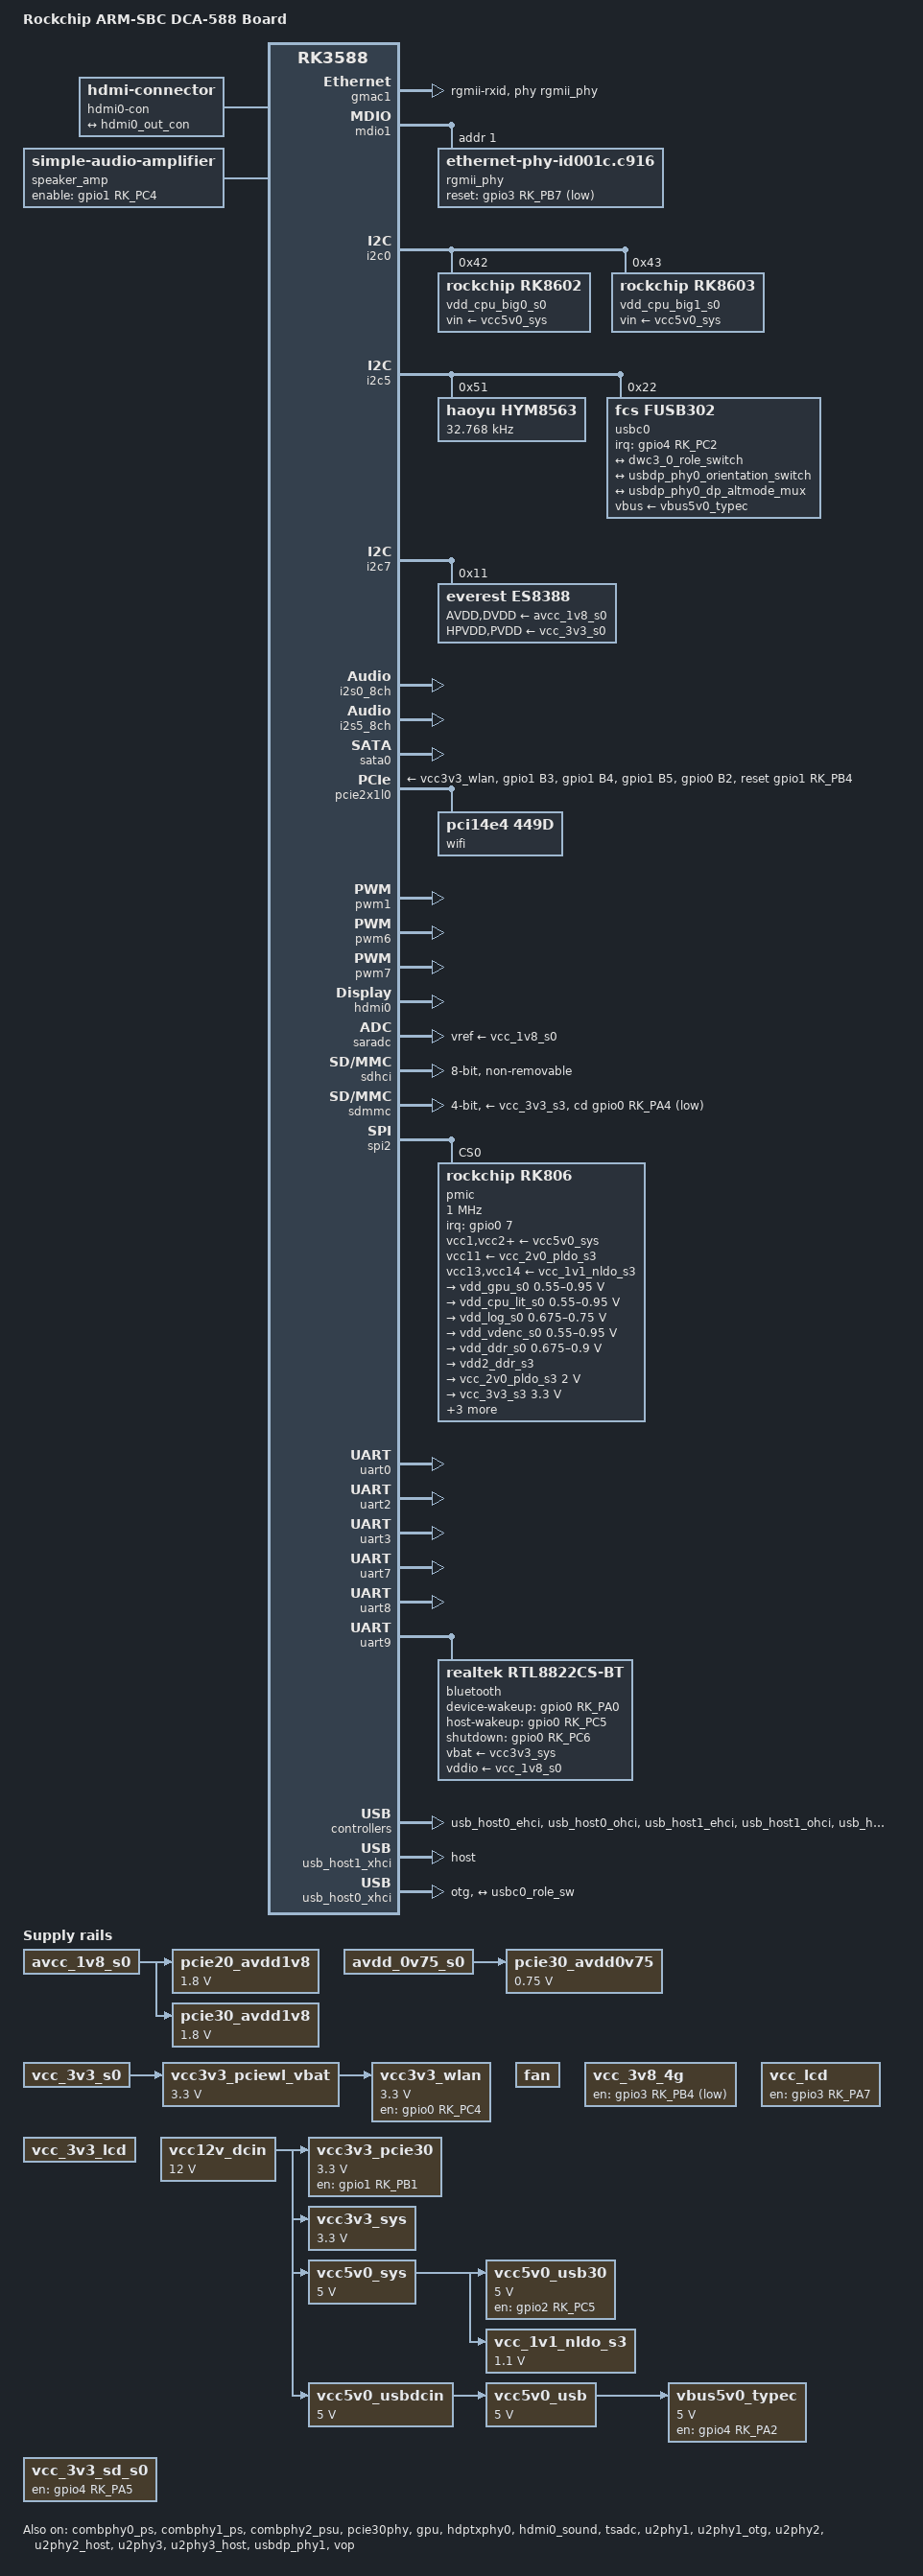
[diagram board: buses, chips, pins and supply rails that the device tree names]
// SPDX-License-Identifier: (GPL-2.0+ OR MIT)
/*
 * Copyright (c) 2024 Rockchip Electronics Co., Ltd.
 *
 */

/dts-v1/;

#include <dt-bindings/gpio/gpio.h>
#include <dt-bindings/input/input.h>
#include <dt-bindings/pinctrl/rockchip.h>
#include <dt-bindings/soc/rockchip,vop2.h>
#include <dt-bindings/usb/pd.h>
#include "rk3588.dtsi"

/ {
	model = "Rockchip ARM-SBC DCA-588 Board";
	compatible = "rockchip,rk3588-arm-sbc-v03", "rockchip,rk3588";

	aliases {
		mmc0 = &sdhci;
		mmc1 = &sdmmc;
		ethernet0 = &gmac1;
	};

	chosen {
		stdout-path = "serial2:1500000n8";
	};
	
	hdmi0-con {
		compatible = "hdmi-connector";
		type = "a";

		port {
			hdmi0_con_in: endpoint {
				remote-endpoint = <&hdmi0_out_con>;
			};
		};
	};

	speaker_amp: speaker-audio-amplifier {
		compatible = "simple-audio-amplifier";
		enable-gpios = <&gpio1 RK_PC4 GPIO_ACTIVE_HIGH>;
		sound-name-prefix = "Speaker Amp";
	};

	sound {
		compatible = "simple-audio-card";
		pinctrl-names = "default";
		pinctrl-0 = <&hp_detect>;
		simple-audio-card,name = "Analog";
		simple-audio-card,aux-devs = <&speaker_amp>;
		simple-audio-card,format = "i2s";
		simple-audio-card,mclk-fs = <256>;
		//simple-audio-card,hp-det-gpio = <&gpio1 RK_PD5 GPIO_ACTIVE_LOW>;
		simple-audio-card,bitclock-master = <&daicpu>;
		simple-audio-card,frame-master = <&daicpu>;
		
		simple-audio-card,widgets =
			"Microphone", "Onboard Microphone",
			"Microphone", "Microphone Jack",
			"Speaker", "Speaker",
			"Headphone", "Headphones";

		simple-audio-card,routing =
			"Headphones", "LOUT1",
			"Headphones", "ROUT1",
			"Speaker", "LOUT2",
			"Speaker", "ROUT2",

			"Speaker", "Speaker Amp OUTL",
			"Speaker", "Speaker Amp OUTR",
			"Speaker Amp INL", "LOUT2",
			"Speaker Amp INR", "ROUT2",

			/* single ended signal to LINPUT1 */
			"LINPUT1", "Microphone Jack",
			"RINPUT1", "Microphone Jack",
			/* differential signal */
			"LINPUT2", "Onboard Microphone",
			"RINPUT2", "Onboard Microphone";

		daicpu: simple-audio-card,cpu {
			sound-dai = <&i2s0_8ch>;
			system-clock-frequency = <12288000>;
		};

		daicodec: simple-audio-card,codec {
			sound-dai = <&es8388>;
			system-clock-frequency = <12288000>;
		};
	};
	
    	fan: fan-regulator {
        	compatible = "regulator-fixed";
        	regulator-name = "fan-5v-regulator";
        	regulator-boot-on;
        	regulator-always-on;
        	enable-active-high;
       	};

    	vcc_3v8_4g: vcc-3v8-4g {
        	compatible = "regulator-fixed";
		regulator-name = "vcc-3v8-4g-regulator";
		regulator-boot-on;
        	regulator-always-on;
		gpio = <&gpio3 RK_PB4 GPIO_ACTIVE_LOW>;
    	};

    	vcc5v0_usb30: vcc5v0-usb30 {
        	compatible = "regulator-fixed";
		regulator-name = "vcc5v0-usb30-regulator";
		regulator-boot-on;
        	enable-active-high;
		gpio = <&gpio2 RK_PC5 GPIO_ACTIVE_HIGH>;
        	regulator-min-microvolt = <5000000>;
        	regulator-max-microvolt = <5000000>;
        	vin-supply = <&vcc5v0_sys>;
    	};
    	
    	vbus5v0_typec: vbus5v0-typec {
		compatible = "regulator-fixed";
		regulator-name = "vbus5v0_typec";
		regulator-min-microvolt = <5000000>;
		regulator-max-microvolt = <5000000>;
		enable-active-high;
		gpio = <&gpio4 RK_PA2 GPIO_ACTIVE_HIGH>;
		vin-supply = <&vcc5v0_usb>;
		pinctrl-names = "default";
		pinctrl-0 = <&typec5v_pwren>;
	};

    	vcc_lcd: vcc-lcd {
        	compatible = "regulator-fixed";
		regulator-name = "vcc-lcd-regulator";
        	enable-active-high;
		gpio = <&gpio3 RK_PA7 GPIO_ACTIVE_HIGH>;
    	};

    	vcc_3v3_lcd: vcc-3v3-lcd {
        	compatible = "regulator-fixed";
		regulator-name = "vcc-3v3-lcd-regulator";
        	enable-active-high;
		//gpio = <&gpio1 RK_PC4 GPIO_ACTIVE_HIGH>;
        	regulator-boot-on;
        	regulator-always-on;
    	};
    	
    	vcc3v3_pcie30: vcc3v3-pcie30 {
		compatible = "regulator-fixed";
		regulator-name = "vcc3v3_pcie30";
		regulator-min-microvolt = <3300000>;
		regulator-max-microvolt = <3300000>;
		enable-active-high;
		gpios = <&gpio1 RK_PB1 GPIO_ACTIVE_HIGH>;
		pinctrl-0 = <&pcie30_pwren>;
		startup-delay-us = <5000>;
		vin-supply = <&vcc12v_dcin>;
	};
	
	pcie20_avdd1v8: pcie20-avdd1v8-regulator {
		compatible = "regulator-fixed";
		regulator-name = "pcie20_avdd1v8";
		regulator-always-on;
		regulator-boot-on;
		regulator-min-microvolt = <1800000>;
		regulator-max-microvolt = <1800000>;
		vin-supply = <&avcc_1v8_s0>;
	};

	pcie30_avdd0v75: pcie30-avdd0v75-regulator {
		compatible = "regulator-fixed";
		regulator-name = "pcie30_avdd0v75";
		regulator-always-on;
		regulator-boot-on;
		regulator-min-microvolt = <750000>;
		regulator-max-microvolt = <750000>;
		vin-supply = <&avdd_0v75_s0>;
	};

	pcie30_avdd1v8: pcie30-avdd1v8-regulator {
		compatible = "regulator-fixed";
		regulator-name = "pcie30_avdd1v8";
		regulator-always-on;
		regulator-boot-on;
		regulator-min-microvolt = <1800000>;
		regulator-max-microvolt = <1800000>;
		vin-supply = <&avcc_1v8_s0>;
	};

	vcc12v_dcin: vcc12v-dcin-regulator {
		compatible = "regulator-fixed";
		regulator-name = "vcc12v_dcin";
		regulator-always-on;
		regulator-boot-on;
		regulator-min-microvolt = <12000000>;
		regulator-max-microvolt = <12000000>;
	};

	vcc3v3_sys: vcc5v0-sys-regulator {
		compatible = "regulator-fixed";
		regulator-name = "vcc3v3_sys";
		regulator-always-on;
		regulator-boot-on;
		regulator-min-microvolt = <3300000>;
		regulator-max-microvolt = <3300000>;
		vin-supply = <&vcc12v_dcin>;
	};
	
	vcc5v0_sys: vcc5v0-sys-regulator {
		compatible = "regulator-fixed";
		regulator-name = "vcc5v0_sys";
		regulator-always-on;
		regulator-boot-on;
		regulator-min-microvolt = <5000000>;
		regulator-max-microvolt = <5000000>;
		vin-supply = <&vcc12v_dcin>;
	};

	vcc5v0_usbdcin: vcc5v0-usbdcin-regulator {
		compatible = "regulator-fixed";
		regulator-name = "vcc5v0_usbdcin";
		regulator-always-on;
		regulator-boot-on;
		regulator-min-microvolt = <5000000>;
		regulator-max-microvolt = <5000000>;
		vin-supply = <&vcc12v_dcin>;
	};

	vcc5v0_usb: vcc5v0-usb-regulator {
		compatible = "regulator-fixed";
		regulator-name = "vcc5v0_usb";
		regulator-always-on;
		regulator-boot-on;
		regulator-min-microvolt = <5000000>;
		regulator-max-microvolt = <5000000>;
		vin-supply = <&vcc5v0_usbdcin>;
	};

	vcc_1v1_nldo_s3: vcc-1v1-nldo-s3-regulator {
		compatible = "regulator-fixed";
		regulator-name = "vcc_1v1_nldo_s3";
		regulator-always-on;
		regulator-boot-on;
		regulator-min-microvolt = <1100000>;
		regulator-max-microvolt = <1100000>;
		vin-supply = <&vcc5v0_sys>;
	};
	
	vcc_3v3_sd_s0: vcc-3v3-sd-s0-regulator {
		compatible = "regulator-fixed";
		gpio = <&gpio4 RK_PA5 GPIO_ACTIVE_HIGH>;
		pinctrl-names = "default";
		pinctrl-0 = <&sd_s0_pwr>;
		regulator-name = "vcc_3v3_sd_s0";
		enable-active-high;
	};
	
	vcc3v3_pciewl_vbat: regulator-vcc3v3-pciewl-vbat {
		compatible = "regulator-fixed";
		regulator-always-on;
		regulator-boot-on;
		regulator-min-microvolt = <3300000>;
		regulator-max-microvolt = <3300000>;
		regulator-name = "wlan-vbat";
		vin-supply = <&vcc_3v3_s0>;
	};

	vcc3v3_wlan: regulator-vcc3v3-wlan {
		compatible = "regulator-fixed";
		enable-active-high;
		gpios = <&gpio0 RK_PC4 GPIO_ACTIVE_HIGH>;
		pinctrl-names = "default";
		pinctrl-0 = <&wifi_poweren_gpio>;
		regulator-min-microvolt = <3300000>;
		regulator-max-microvolt = <3300000>;
		regulator-name = "wlan-en";
		vin-supply = <&vcc3v3_pciewl_vbat>;
	};
};

&combphy0_ps {
	status = "okay";
};

&combphy1_ps {
	status = "okay";
};

&combphy2_psu {
	status = "okay";
};

&cpu_b0 {
	cpu-supply = <&vdd_cpu_big0_s0>;
};

&cpu_b1 {
	cpu-supply = <&vdd_cpu_big0_s0>;
};

&cpu_b2 {
	cpu-supply = <&vdd_cpu_big1_s0>;
};

&cpu_b3 {
	cpu-supply = <&vdd_cpu_big1_s0>;
};

&cpu_l0 {
	cpu-supply = <&vdd_cpu_lit_s0>;
};

&cpu_l1 {
	cpu-supply = <&vdd_cpu_lit_s0>;
};

&cpu_l2 {
	cpu-supply = <&vdd_cpu_lit_s0>;
};

&cpu_l3 {
	cpu-supply = <&vdd_cpu_lit_s0>;
};

&gmac1 {
	phy-mode = "rgmii-rxid";
	clock_in_out = "output";
	pinctrl-names = "default";
	pinctrl-0 = <&gmac1_miim
		     &gmac1_tx_bus2
		     &gmac1_rx_bus2
		     &gmac1_rgmii_clk
		     &gmac1_rgmii_bus>;
	tx_delay = <0x44>;
	rx_delay = <0x00>; 
	phy-handle = <&rgmii_phy>;
	status = "okay";
};

&mdio1 {
	rgmii_phy: ethernet-phy@1 {
		/* RTL8211F */
		compatible = "ethernet-phy-id001c.c916";
		reg = <0x1>;
		pinctrl-names = "default";
		pinctrl-0 = <&rtl8211f_rst>;
		reset-assert-us = <20000>;
		reset-deassert-us = <100000>;
		reset-gpios = <&gpio3 RK_PB7 GPIO_ACTIVE_LOW>;
	};
};

&i2c0 {
	pinctrl-names = "default";
	pinctrl-0 = <&i2c0m2_xfer>;
	status = "okay";

	vdd_cpu_big0_s0: regulator@42 {
		compatible = "rockchip,rk8602";
		reg = <0x42>;
		fcs,suspend-voltage-selector = <1>;
		regulator-name = "vdd_cpu_big0_s0";
		regulator-always-on;
		regulator-boot-on;
		regulator-min-microvolt = <550000>;
		regulator-max-microvolt = <1050000>;
		regulator-ramp-delay = <2300>;
		vin-supply = <&vcc5v0_sys>;

		regulator-state-mem {
			regulator-off-in-suspend;
		};
	};

	vdd_cpu_big1_s0: regulator@43 {
		compatible = "rockchip,rk8603", "rockchip,rk8602";
		reg = <0x43>;
		fcs,suspend-voltage-selector = <1>;
		regulator-name = "vdd_cpu_big1_s0";
		regulator-always-on;
		regulator-boot-on;
		regulator-min-microvolt = <550000>;
		regulator-max-microvolt = <1050000>;
		regulator-ramp-delay = <2300>;
		vin-supply = <&vcc5v0_sys>;

		regulator-state-mem {
			regulator-off-in-suspend;
		};
	};
};

&i2c5 {
	status = "okay";

	hym8563: rtc@51 {
		compatible = "haoyu,hym8563";
		reg = <0x51>;
		#clock-cells = <0>;
		clock-frequency = <32768>;
		clock-output-names = "hym8563";
		pinctrl-names = "default";
		wakeup-source;
		status = "okay";
	};
	
	
	usbc0: fusb302@22 {
		compatible = "fcs,fusb302";
		reg = <0x22>;
		interrupt-parent = <&gpio4>;
		interrupts = <RK_PC2 IRQ_TYPE_LEVEL_LOW>;
		pinctrl-names = "default";
		pinctrl-0 = <&usbc0_int>;
		vbus-supply = <&vbus5v0_typec>;
		status = "okay";

		ports {
			#address-cells = <1>;
			#size-cells = <0>;

			port@0 {
				reg = <0>;
				usbc0_role_sw: endpoint@0 {
					remote-endpoint = <&dwc3_0_role_switch>;
				};
			};
		};

		usb_con: connector {
			compatible = "usb-c-connector";
			label = "USB-C";
			data-role = "dual";
			power-role = "dual";
			try-power-role = "sink";
			op-sink-microwatt = <1000000>;
			sink-pdos = <PDO_FIXED(5000, 1000, PDO_FIXED_USB_COMM)>;
			source-pdos = <PDO_FIXED(5000, 3000, PDO_FIXED_USB_COMM)>;

			altmodes {
				#address-cells = <1>;
				#size-cells = <0>;

				altmode@0 {
					reg = <0>;
					svid = <0xff01>;
					vdo = <0xffffffff>;
				};
			};

			ports {
				#address-cells = <1>;
				#size-cells = <0>;

				port@0 {
					reg = <0>;
					usbc0_orien_sw: endpoint {
						remote-endpoint = <&usbdp_phy0_orientation_switch>;
					};
				};

				port@1 {
					reg = <1>;
					dp_altmode_mux: endpoint {
						remote-endpoint = <&usbdp_phy0_dp_altmode_mux>;
					};
				};
			};
		};
	};
};

&i2c7 {
	status = "okay";
	
	es8388: es8388@11 {
		compatible = "everest,es8388";
		reg = <0x11>;
		assigned-clocks = <&cru I2S0_8CH_MCLKOUT>;
		assigned-clock-rates = <12288000>;
		clocks = <&cru I2S0_8CH_MCLKOUT>;
		clock-names = "mclk";
		AVDD-supply = <&avcc_1v8_s0>;
		DVDD-supply = <&avcc_1v8_s0>;
		HPVDD-supply = <&vcc_3v3_s0>;
		PVDD-supply = <&vcc_3v3_s0>;
		#sound-dai-cells = <0>;
	};
};


&i2s0_8ch {
	status = "okay";
	pinctrl-0 = <&i2s0_lrck
		     &i2s0_mclk
		     &i2s0_sclk
		     &i2s0_sdi0
		     &i2s0_sdo0>;
};

&i2s5_8ch {
	status = "okay";
};

&pinctrl {

	gpio-leds {
		sys_led_pin: sys-led-pin {
			rockchip,pins = <2 RK_PB6 RK_FUNC_GPIO &pcfg_pull_none>;
		};
	};
	
	pcie {

		pcie30_pwren: pcie30-pwren {
			rockchip,pins = <1 RK_PB1 RK_FUNC_GPIO &pcfg_pull_up>;
		};
		
		pcie2_wake: pcie2-wake {
			rockchip,pins = <1 RK_PB3 RK_FUNC_GPIO &pcfg_pull_up>;
		};
		
		pcie2_reset: pcie2-reset {
			rockchip,pins = <1 RK_PB4 RK_FUNC_GPIO &pcfg_pull_up>;
		};
		
		pcie2_clkreq: pcie2-clkreq {
			rockchip,pins = <1 RK_PB5 RK_FUNC_GPIO &pcfg_pull_up>;
		};
		
		pcie3_wake: pcie3-wake {
			rockchip,pins = <4 RK_PB5 RK_FUNC_GPIO &pcfg_pull_up>;
		};
		
		pcie3_reset: pcie3-reset {
			rockchip,pins = <4 RK_PB6 RK_FUNC_GPIO &pcfg_pull_up>;
		};
		
		pcie3_clkreq: pcie3-clkreq {
			rockchip,pins = <4 RK_PB4 RK_FUNC_GPIO &pcfg_pull_up>;
		};
	};

	
	usb {
		vcc5v0_host_en: vcc5v0-host-en {
			rockchip,pins = <2 RK_PC5 RK_FUNC_GPIO &pcfg_pull_none>;
		};
	};

	usb-typec {
		usbc0_int: usbc0-int {
			rockchip,pins = <4 RK_PC2 RK_FUNC_GPIO &pcfg_pull_up>;
		};

		typec5v_pwren: typec5v-pwren {
			rockchip,pins = <4 RK_PA2 RK_FUNC_GPIO &pcfg_pull_none>;
		};
	};
	
	sound {
		hp_detect: hp-detect {
			rockchip,pins = <2 RK_PB2 RK_FUNC_GPIO &pcfg_pull_none>;
		};
	};
	
	sdmmc {
		sd_s0_pwr: sd-s0-pwr {
			rockchip,pins = <4 RK_PA5 RK_FUNC_GPIO &pcfg_pull_up>;
		};
	};
	
	rtl8211f {
		rtl8211f_rst: rtl8211f-rst {
			rockchip,pins = <4 RK_PB3 RK_FUNC_GPIO &pcfg_pull_none>;
		};
	};

                
        wireless-bluetooth {

		bt_reset_gpio: bt-reset-gpio {
			rockchip,pins = <0 RK_PC6 RK_FUNC_GPIO &pcfg_pull_none>;
		};

		bt_wake_gpio: bt-wake-gpio {
			rockchip,pins = <0 RK_PC5 RK_FUNC_GPIO &pcfg_pull_none>;
		};

		bt_irq_gpio: bt-irq-gpio {
			rockchip,pins = <0 RK_PA0 RK_FUNC_GPIO &pcfg_pull_none>;
		};
	};

	wireless-wlan {
		wifi_host_wake_irq: wifi-host-wake-irq {
			rockchip,pins = <0 RK_PB2 RK_FUNC_GPIO &pcfg_pull_up>;
		};
		
		wifi_poweren_gpio: wifi-poweren-gpio {
			rockchip,pins = <0 RK_PC4 RK_FUNC_GPIO &pcfg_pull_down>;
    		};
    	};
};

&sata0 {
	status = "okay";
};

&pcie2x1l0 {
	reset-gpios = <&gpio1 RK_PB4 GPIO_ACTIVE_HIGH>;
	pinctrl-names = "default";
	vpcie3v3-supply = <&vcc3v3_wlan>;
	pinctrl-0 = <&pcie2_wake>, <&pcie2_reset>, <&pcie2_clkreq>, <&wifi_host_wake_irq>;
	status = "okay";
	
	pcie@0,0 {
		reg = <0x200000 0 0 0 0>;
		#address-cells = <3>;
		#size-cells = <2>;
		ranges;
		device_type = "pci";
		bus-range = <0x20 0x2f>;

		wifi: wifi@0,0 {
			compatible = "pci14e4,449d";
			reg = <0x210000 0 0 0 0>;
			clocks = <&hym8563>;
			clock-names = "lpo";
		};
	};
};


&pcie30phy {
	status = "okay";
};

&pcie3x4 {
	reset-gpios = <&gpio4 RK_PB6 GPIO_ACTIVE_HIGH>;
	pinctrl-0 = <&pcie3_wake>, <&pcie3_reset>, <&pcie3_clkreq>;
	pinctrl-names = "default";
	vpcie3v3-supply = <&vcc3v3_pcie30>;
	status = "disabled";
};

&pwm1 {
	pinctrl-0 = <&pwm1m0_pins>;
	status = "okay";
};

&pwm6 {
	pinctrl-0 = <&pwm6m0_pins>;
	status = "okay";
};

&pwm7 {
	pinctrl-0 = <&pwm7m3_pins>;
	status = "okay";
};

&gpu {
	mali-supply = <&vdd_gpu_s0>;
	status = "okay";
};

&hdmi0 {
	status = "okay";
};

&hdmi0_out {
	hdmi0_out_con: endpoint {
		remote-endpoint = <&hdmi0_con_in>;
	};
};

&hdmi0_in {
	hdmi0_in_vp0: endpoint {
		remote-endpoint = <&vp0_out_hdmi0>;
	};
};

&hdptxphy0 {
	status = "okay";
};

&hdmi0_sound {
	status = "okay";
};

&saradc {
	vref-supply = <&vcc_1v8_s0>;
	status = "okay";
};

&sdhci {
	bus-width = <8>;
	mmc-hs400-1_8v;
	mmc-hs400-enhanced-strobe;
	no-sdio;
	no-sd;
	non-removable;
	status = "okay";
};

&sdmmc {
	max-frequency = <150000000>;
	cd-gpios = <&gpio0 RK_PA4 GPIO_ACTIVE_LOW>;
	bus-width = <4>;
	cap-sd-highspeed;
	cap-mmc-highspeed;
	disable-wp;
	no-sdio;
	no-mmc;
	sd-uhs-sdr104;
	vmmc-supply = <&vcc_3v3_s3>;
	vqmmc-supply = <&vccio_sd_s0>;
	status = "okay";
};

&spi2 {
	assigned-clocks = <&cru CLK_SPI2>;
	assigned-clock-rates = <200000000>;
	num-cs = <1>;
	pinctrl-names = "default";
	pinctrl-0 = <&spi2m2_cs0 &spi2m2_pins>;
	status = "okay";

	pmic@0 {
		compatible = "rockchip,rk806";
		spi-max-frequency = <1000000>;
		reg = <0x0>;
		
		gpio-controller;
		gpio-cells = <2>;
		
		interrupt-parent = <&gpio0>;
		interrupts = <7 IRQ_TYPE_LEVEL_LOW>;
		
		pinctrl-names = "default";
		pinctrl-0 = <&pmic_pins>, <&rk806_dvs1_null>,
			    <&rk806_dvs2_null>, <&rk806_dvs3_null>;
		
		system-power-controller;

		vcc1-supply = <&vcc5v0_sys>;
		vcc2-supply = <&vcc5v0_sys>;
		vcc3-supply = <&vcc5v0_sys>;
		vcc4-supply = <&vcc5v0_sys>;
		vcc5-supply = <&vcc5v0_sys>;
		vcc6-supply = <&vcc5v0_sys>;
		vcc7-supply = <&vcc5v0_sys>;
		vcc8-supply = <&vcc5v0_sys>;
		vcc9-supply = <&vcc5v0_sys>;
		vcc10-supply = <&vcc5v0_sys>;
		vcc11-supply = <&vcc_2v0_pldo_s3>;
		vcc12-supply = <&vcc5v0_sys>;
		vcc13-supply = <&vcc_1v1_nldo_s3>;
		vcc14-supply = <&vcc_1v1_nldo_s3>;
		vcca-supply = <&vcc5v0_sys>;

		rk806_dvs1_null: dvs1-null-pins {
			pins = "gpio_pwrctrl1";
			function = "pin_fun0";
		};

		rk806_dvs2_null: dvs2-null-pins {
			pins = "gpio_pwrctrl2";
			function = "pin_fun0";
		};

		rk806_dvs3_null: dvs3-null-pins {
			pins = "gpio_pwrctrl3";
			function = "pin_fun0";
		};

		regulators {
			vdd_gpu_s0: vdd_gpu_mem_s0: dcdc-reg1 {
				regulator-name = "vdd_gpu_s0";
				regulator-boot-on;
				regulator-enable-ramp-delay = <400>;
				regulator-min-microvolt = <550000>;
				regulator-max-microvolt = <950000>;
				regulator-ramp-delay = <12500>;

				regulator-state-mem {
					regulator-off-in-suspend;
				};
			};

			vdd_cpu_lit_s0: vdd_cpu_lit_mem_s0: dcdc-reg2 {
				regulator-name = "vdd_cpu_lit_s0";
				regulator-always-on;
				regulator-boot-on;
				regulator-min-microvolt = <550000>;
				regulator-max-microvolt = <950000>;
				regulator-ramp-delay = <12500>;

				regulator-state-mem {
					regulator-off-in-suspend;
				};
			};

			vdd_log_s0: dcdc-reg3 {
				regulator-name = "vdd_log_s0";
				regulator-always-on;
				regulator-boot-on;
				regulator-min-microvolt = <675000>;
				regulator-max-microvolt = <750000>;
				regulator-ramp-delay = <12500>;

				regulator-state-mem {
					regulator-off-in-suspend;
					regulator-suspend-microvolt = <750000>;
				};
			};

			vdd_vdenc_s0: vdd_vdenc_mem_s0: dcdc-reg4 {
				regulator-name = "vdd_vdenc_s0";
				regulator-always-on;
				regulator-boot-on;
				regulator-min-microvolt = <550000>;
				regulator-max-microvolt = <950000>;
				regulator-init-microvolt = <750000>;
				regulator-ramp-delay = <12500>;

				regulator-state-mem {
					regulator-off-in-suspend;
				};
			};

			vdd_ddr_s0: dcdc-reg5 {
				regulator-name = "vdd_ddr_s0";
				regulator-always-on;
				regulator-boot-on;
				regulator-min-microvolt = <675000>;
				regulator-max-microvolt = <900000>;
				regulator-ramp-delay = <12500>;

				regulator-state-mem {
					regulator-off-in-suspend;
					regulator-suspend-microvolt = <850000>;
				};
			};

			vdd2_ddr_s3: dcdc-reg6 {
				regulator-name = "vdd2_ddr_s3";
				regulator-always-on;
				regulator-boot-on;

				regulator-state-mem {
					regulator-on-in-suspend;
				};
			};

			vcc_2v0_pldo_s3: dcdc-reg7 {
				regulator-name = "vdd_2v0_pldo_s3";
				regulator-always-on;
				regulator-boot-on;
				regulator-min-microvolt = <2000000>;
				regulator-max-microvolt = <2000000>;

				regulator-state-mem {
					regulator-on-in-suspend;
					regulator-suspend-microvolt = <2000000>;
				};
			};

			vcc_3v3_s3: dcdc-reg8 {
				regulator-name = "vcc_3v3_s3";
				regulator-always-on;
				regulator-boot-on;
				regulator-min-microvolt = <3300000>;
				regulator-max-microvolt = <3300000>;

				regulator-state-mem {
					regulator-on-in-suspend;
					regulator-suspend-microvolt = <3300000>;
				};
			};

			vddq_ddr_s0: dcdc-reg9 {
				regulator-name = "vddq_ddr_s0";
				regulator-always-on;
				regulator-boot-on;

				regulator-state-mem {
					regulator-off-in-suspend;
				};
			};

			vcc_1v8_s3: dcdc-reg10 {
				regulator-name = "vcc_1v8_s3";
				regulator-always-on;
				regulator-boot-on;
				regulator-min-microvolt = <1800000>;
				regulator-max-microvolt = <1800000>;

				regulator-state-mem {
					regulator-on-in-suspend;
					regulator-suspend-microvolt = <1800000>;
				};
			};

			avcc_1v8_s0: pldo-reg1 {
				regulator-name = "avcc_1v8_s0";
				regulator-always-on;
				regulator-boot-on;
				regulator-min-microvolt = <1800000>;
				regulator-max-microvolt = <1800000>;

				regulator-state-mem {
					regulator-off-in-suspend;
				};
			};

			vcc_1v8_s0: pldo-reg2 {
				regulator-name = "vcc_1v8_s0";
				regulator-always-on;
				regulator-boot-on;
				regulator-min-microvolt = <1800000>;
				regulator-max-microvolt = <1800000>;

				regulator-state-mem {
					regulator-off-in-suspend;
					regulator-suspend-microvolt = <1800000>;
				};
			};

			avdd_1v2_s0: pldo-reg3 {
				regulator-name = "avdd_1v2_s0";
				regulator-always-on;
				regulator-boot-on;
				regulator-min-microvolt = <1200000>;
				regulator-max-microvolt = <1200000>;

				regulator-state-mem {
					regulator-off-in-suspend;
				};
			};

			vcc_3v3_s0: pldo-reg4 {
				regulator-name = "vcc_3v3_s0";
				regulator-always-on;
				regulator-boot-on;
				regulator-min-microvolt = <3300000>;
				regulator-max-microvolt = <3300000>;

				regulator-state-mem {
					regulator-off-in-suspend;
				};
			};

			vccio_sd_s0: pldo-reg5 {
				regulator-name = "vccio_sd_s0";
				regulator-always-on;
				regulator-boot-on;
				regulator-min-microvolt = <1800000>;
				regulator-max-microvolt = <3300000>;

				regulator-state-mem {
					regulator-off-in-suspend;
				};
			};

			pldo6_s3: pldo-reg6 {
				regulator-name = "pldo6_s3";
				regulator-always-on;
				regulator-boot-on;
				regulator-min-microvolt = <1800000>;
				regulator-max-microvolt = <1800000>;

				regulator-state-mem {
					regulator-on-in-suspend;
					regulator-suspend-microvolt = <1800000>;
				};
			};

			vdd_0v75_s3: nldo-reg1 {
				regulator-name = "vdd_0v75_s3";
				regulator-always-on;
				regulator-boot-on;
				regulator-min-microvolt = <750000>;
				regulator-max-microvolt = <750000>;

				regulator-state-mem {
					regulator-on-in-suspend;
					regulator-suspend-microvolt = <750000>;
				};
			};

			vdd_ddr_pll_s0: nldo-reg2 {
				regulator-name = "vdd_ddr_pll_s0";
				regulator-always-on;
				regulator-boot-on;
				regulator-min-microvolt = <850000>;
				regulator-max-microvolt = <850000>;

				regulator-state-mem {
					regulator-off-in-suspend;
					regulator-suspend-microvolt = <850000>;
				};
			};

			avdd_0v75_s0: nldo-reg3 {
				regulator-name = "avdd_0v75_s0";
				regulator-always-on;
				regulator-boot-on;
				regulator-min-microvolt = <837500>;
				regulator-max-microvolt = <837500>;

				regulator-state-mem {
					regulator-off-in-suspend;
				};
			};

			vdd_0v85_s0: nldo-reg4 {
				regulator-name = "vdd_0v85_s0";
				regulator-always-on;
				regulator-boot-on;
				regulator-min-microvolt = <850000>;
				regulator-max-microvolt = <850000>;

				regulator-state-mem {
					regulator-off-in-suspend;
				};
			};

			vdd_0v75_s0: nldo-reg5 {
				regulator-name = "vdd_0v75_s0";
				regulator-always-on;
				regulator-boot-on;
				regulator-min-microvolt = <750000>;
				regulator-max-microvolt = <750000>;

				regulator-state-mem {
					regulator-off-in-suspend;
				};
			};
		};
	};
};

&tsadc {
	status = "okay";
};

&uart0 {
	status = "okay";
	pinctrl-names = "default";
  	pinctrl-0 = <&uart0m2_xfer>;
};

&uart2 {
	pinctrl-0 = <&uart2m0_xfer>;
	pinctrl-names = "default";
	status = "okay";
};

&uart3 {
	status = "okay";
	pinctrl-names = "default";
  	pinctrl-0 = <&uart3m0_xfer>;
};

&uart7 {
	status = "okay";
	pinctrl-names = "default";
  	pinctrl-0 = <&uart7m0_xfer>;
};

&uart8 {
	status = "okay";
	pinctrl-names = "default";
  	pinctrl-0 = <&uart8m0_xfer>;
};

&uart9 {
	pinctrl-0 = <&uart9m0_xfer>, <&uart9m0_ctsn>, <&uart9m0_rtsn>;
	uart-has-rtscts;
	pinctrl-names = "default";
	status = "okay";
	
	bluetooth {
        	compatible = "realtek,rtl8822cs-bt";
        	clock-names = "ext_clock";
		clocks = <&hym8563>;
        	device-wakeup-gpios = <&gpio0 RK_PA0 GPIO_ACTIVE_HIGH>;  // BT_WAKE
        	host-wakeup-gpios = <&gpio0 RK_PC5 GPIO_ACTIVE_HIGH>;    // BT_HOST_WAKE
        	shutdown-gpios      = <&gpio0 RK_PC6 GPIO_ACTIVE_HIGH>;  // BT_REG_ON
        	pinctrl-names = "default";
        	pinctrl-0 = <&bt_reset_gpio>, <&bt_wake_gpio>, <&bt_irq_gpio>;

        	vbat-supply = <&vcc3v3_sys>;
        	vddio-supply = <&vcc_1v8_s0>;
    	};
};

&u2phy1 {
	status = "okay";
};

&u2phy1_otg {
	status = "okay";
};

&u2phy2 {
	status = "okay";
};

&u2phy2_host {
	phy-supply = <&vcc5v0_usb30>;
	status = "okay";
};

&u2phy3 {
	status = "okay";
};

&u2phy3_host {
	phy-supply = <&vcc5v0_usb30>;
	status = "okay";
};

&usbdp_phy1 {
	status = "okay";
};

&usb_host0_ehci {
	status = "okay";
};

&usb_host0_ohci {
	status = "okay";
};

&usb_host1_ehci {
	status = "okay";
};

&usb_host1_ohci {
	status = "okay";
};

&usb_host1_xhci {
	dr_mode = "host";
	status = "okay";
};

&usb_host2_xhci {
	status = "okay";
};

&usbdp_phy0 {
	orientation-switch;
	svid = <0xff01>;
	sbu1-dc-gpios = <&gpio4 RK_PA6 GPIO_ACTIVE_HIGH>;
	sbu2-dc-gpios = <&gpio4 RK_PA7 GPIO_ACTIVE_HIGH>;

	port {
		#address-cells = <1>;
		#size-cells = <0>;
		usbdp_phy0_orientation_switch: endpoint@0 {
			reg = <0>;
			remote-endpoint = <&usbc0_orien_sw>;
		};

		usbdp_phy0_dp_altmode_mux: endpoint@1 {
			reg = <1>;
			remote-endpoint = <&dp_altmode_mux>;
		};
	};
};

&usb_host0_xhci{
	dr_mode = "otg";
	usb-role-switch;
	port {
		#address-cells = <1>;
		#size-cells = <0>;
		dwc3_0_role_switch: endpoint@0 {
			reg = <0>;
			remote-endpoint = <&usbc0_role_sw>;
		};
	};
};

&vop {
	status = "okay";
};

&vop_mmu {
	status = "okay";
};

&vp0 {
	vp0_out_hdmi0: endpoint@ROCKCHIP_VOP2_EP_HDMI0 {
		reg = <ROCKCHIP_VOP2_EP_HDMI0>;
		remote-endpoint = <&hdmi0_in_vp0>;
	};
};
